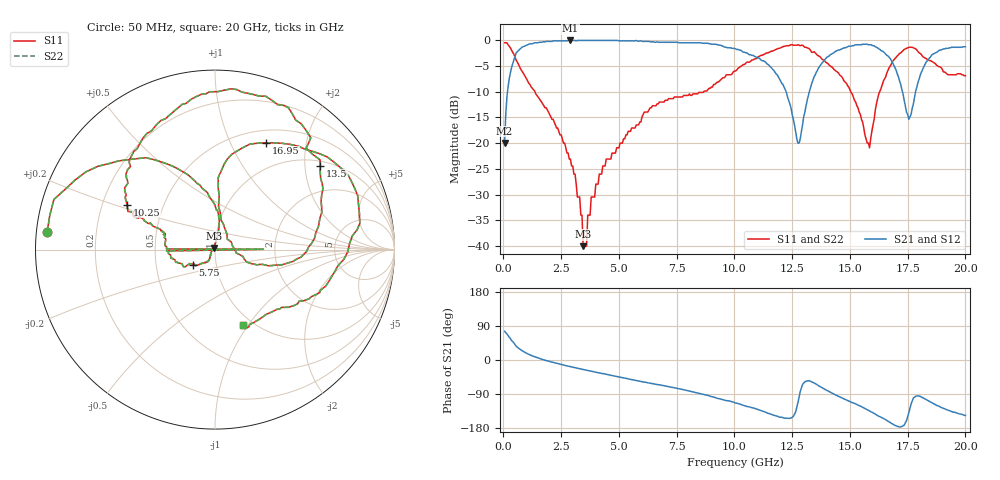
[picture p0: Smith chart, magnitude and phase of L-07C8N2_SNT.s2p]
#	mhz	s	ma	r	50
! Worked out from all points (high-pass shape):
!   400 points, 50 MHz to 20 GHz, reference 50 ohm
!   highest |S21| = -0.09 dB at 2.9 GHz (marker M1); lowest = -20.0 dB at 50 MHz (marker M2)
!   |S21| within 3 dB of the highest: 509.4 MHz to 10.85 GHz (10.34 GHz wide, 182 % of centre); 14.1 GHz to 16.65 GHz (2.543 GHz wide, 16.5 % of centre) (the widest 2 of 3)
!   lowest |S11| = -40.0 dB at 3.45 GHz (marker M3), VSWR 1.02, Z = 49.5 + j0.833 ohm
!   |S11| at or under -10 dB: 1.359 GHz to 8.681 GHz (7.322 GHz wide, 146 % of centre); 15.03 GHz to 16.29 GHz (1.257 GHz wide, 8.02 % of centre)
!   |S22| runs from -40.0 to -0.5 dB; largest |S21 - S12| = 0
!   S11 on the Smith chart (normalised r, x): 50 MHz: 0.03, +0.05; 5.75 GHz: 0.77, -0.13; 10.25 GHz: 0.31, +0.22; 13.5 GHz: 1.12, +2.40; 16.95 GHz: 0.65, +1.38; 20 GHz: 0.89, -0.95
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50  0.94 173.9  0.1 75.6  0.1 75.6  0.94 173.9
550  0.64 126.9  0.75 36.5  0.75 36.5  0.64 126.9
2900  0.07 80.2  0.99 -17.6  0.99 -17.6  0.07 80.2
3400  0.02 110.5  0.99 -24.5  0.99 -24.5  0.02 110.5
3450  0.01 122.6  0.99 -25.1  0.99 -25.1  0.01 122.6
4300  0.06 -121.7  0.99 -35.8  0.99 -35.8  0.06 -121.7
5750  0.15 -145.3  0.99 -54.2  0.99 -54.2  0.15 -145.3
6700  0.24 -168.1  0.95 -65.1  0.95 -65.1  0.24 -168.1
7150  0.27 -178.4  0.95 -70.1  0.95 -70.1  0.27 -178.4
7200  0.27 0.4  0.95 -70.8  0.95 -70.8  0.27 0.4
7250  0.27 179.2  0.95 -71.4  0.95 -71.4  0.27 179.2
10050  0.5 155.1  0.82 -113.4  0.82 -113.4  0.5 155.1
10250  0.55 152.9  0.8 -116.9  0.8 -116.9  0.55 152.9
12750  0.9 71.7  0.1 -112.3  0.1 -112.3  0.9 71.7
13350  0.76 48.1  0.38 -58.0  0.38 -58.0  0.76 48.1
13500  0.75 38.6  0.46 -62.3  0.46 -62.3  0.75 38.6
15850  0.09 40.4  0.9 -134.0  0.9 -134.0  0.09 40.4
16700  0.54 79.9  0.68 -163.4  0.68 -163.4  0.54 79.9
16950  0.66 64.3  0.54 -172.5  0.54 -172.5  0.66 64.3
17550  0.85 29.0  0.17 -139.4  0.17 -139.4  0.85 29.0
17950  0.77 5.8  0.39 -94.5  0.39 -94.5  0.77 5.8
20000  0.45 -69.8  0.86 -146.4  0.86 -146.4  0.45 -69.8
